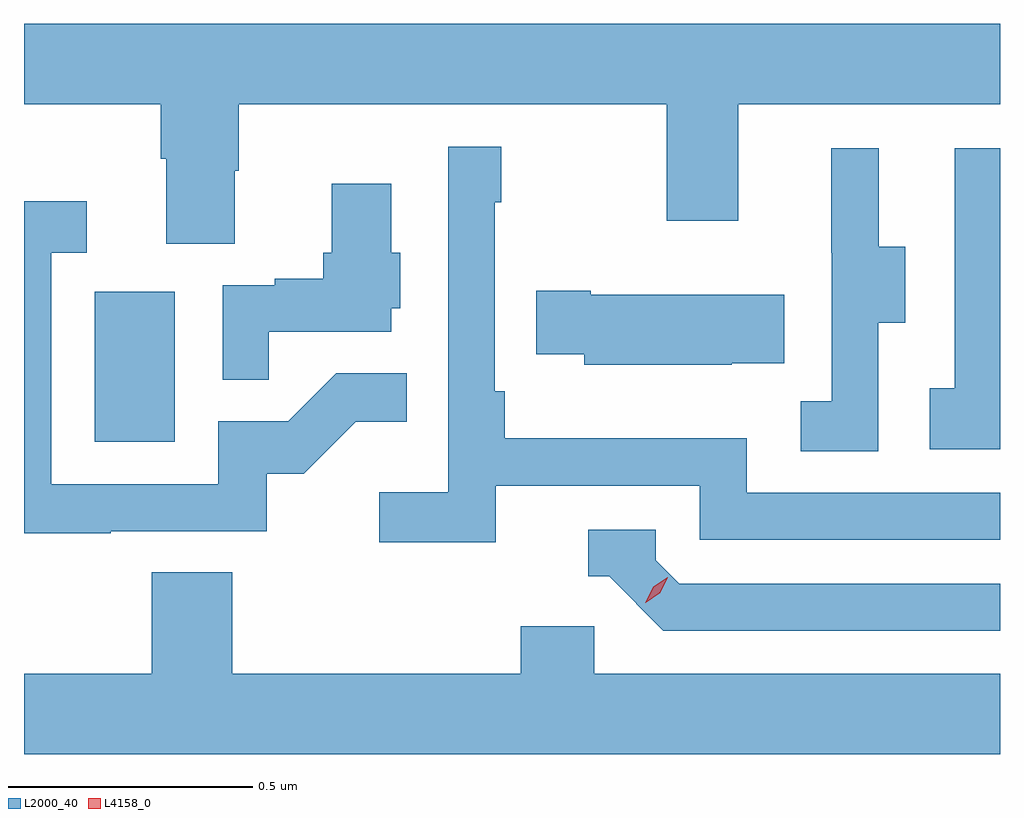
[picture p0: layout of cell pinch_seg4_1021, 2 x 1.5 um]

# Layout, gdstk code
import gdstk
lib = gdstk.Library(unit=1e-6, precision=1e-09)
def R(c, l, rs):  # rectangles x0, y0, x1, y1
    for r in rs: c.add(gdstk.rectangle(r[:2], r[2:], *l))
def P(c, l, *ps):  # polygons
    for p in ps: c.add(gdstk.Polygon(p, *l))
L2000_40 = (2000, 40)
L4158_0 = (4158, 0)

pinch_seg4_1021 = lib.new_cell('pinch_seg4_1021')
R(pinch_seg4_1021, L2000_40, [(791.804,786.804,791.968,787.111)])
P(pinch_seg4_1021, L2000_40, [(792.091,787.359),(792.099,787.359),(792.099,787.496),(792.976,787.496),(792.976,787.257),(793.123,787.257),(793.123,787.496),(793.659,787.496),(793.659,787.66),(791.659,787.66),(791.659,787.496),(791.939,787.496),(791.939,787.384),(791.951,787.384),(791.951,787.21),(792.091,787.21)],
  [(792.626,786.714),(793.044,786.714),(793.044,786.603),(793.659,786.603),(793.659,786.699),(793.14,786.699),(793.14,786.811),(792.644,786.811),(792.644,786.907),(792.624,786.907),(792.624,787.295),(792.637,787.295),(792.637,787.408),(792.528,787.408),(792.528,786.7),(792.387,786.7),(792.387,786.598),(792.626,786.598)],
  [(793.659,787.405),(793.566,787.405),(793.566,786.914),(793.515,786.914),(793.515,786.789),(793.659,786.789)],
  [(793.41,787.048),(793.465,787.048),(793.465,787.203),(793.411,787.203),(793.411,787.405),(793.313,787.405),(793.313,787.191),(793.314,787.191),(793.314,786.887),(793.251,786.887),(793.251,786.784),(793.41,786.784)],
  [(792.161,787.029),(792.412,787.029),(792.412,787.077),(792.43,787.077),(792.43,787.191),(792.412,787.191),(792.412,787.333),(792.29,787.333),(792.29,787.191),(792.272,787.191),(792.272,787.138),(792.173,787.138),(792.173,787.125),(792.066,787.125),(792.066,786.931),(792.161,786.931)],
  [(791.837,786.621),(792.156,786.621),(792.156,786.738),(792.232,786.738),(792.339,786.845),(792.443,786.845),(792.443,786.944),(792.299,786.944),(792.201,786.846),(792.057,786.846),(792.057,786.717),(791.715,786.717),(791.715,787.191),(791.788,787.191),(791.788,787.297),(791.659,787.297),(791.659,786.616),(791.837,786.616)],
  [(793.109,786.965),(793.217,786.965),(793.217,787.105),(792.82,787.105),(792.82,787.113),(792.709,787.113),(792.709,786.983),(792.807,786.983),(792.807,786.962),(793.109,786.962)],
  [(793.659,786.513),(793.002,786.513),(792.954,786.561),(792.954,786.624),(792.815,786.624),(792.815,786.528),(792.858,786.528),(792.969,786.417),(793.659,786.417)],
  [(793.659,786.328),(792.828,786.328),(792.828,786.426),(792.677,786.426),(792.677,786.328),(792.086,786.328),(792.086,786.536),(791.921,786.536),(791.921,786.328),(791.659,786.328),(791.659,786.164),(793.659,786.164)])
P(pinch_seg4_1021, L4158_0, [(792.932,786.474),(792.932,786.474),(792.948,786.507),(792.978,786.526),(792.978,786.526),(792.978,786.526),(792.963,786.494),(792.933,786.474)])

lib.write_gds('pinch_seg4_1021.gds')
